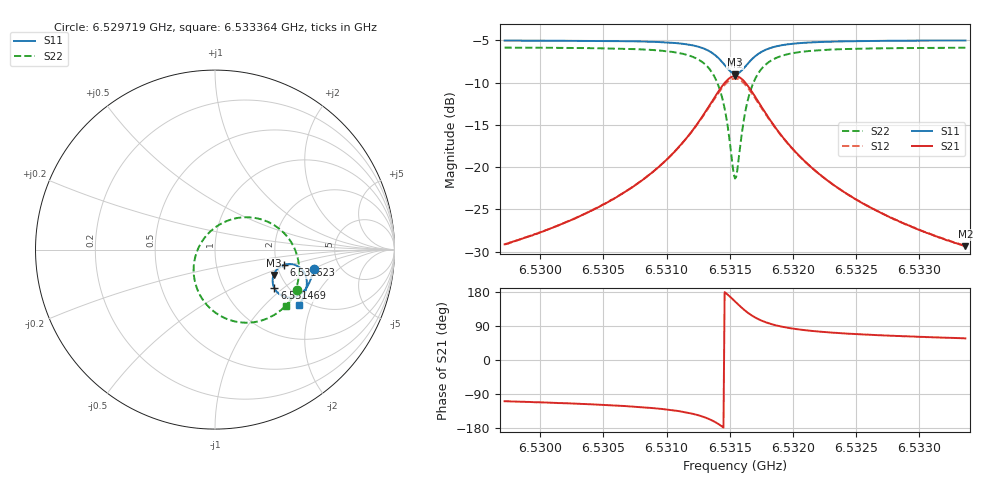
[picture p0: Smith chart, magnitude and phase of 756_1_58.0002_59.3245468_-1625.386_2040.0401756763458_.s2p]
#  HZ  S  RI  R  50.00
! Rohde & Schwarz Vector Network Analyzer
! Rohde-Schwarz,ZNB20-2Port,1311601062101988,3.16
! Created: UTC 3/21/2024, 1:24:11 AM
! freq[Hz]  re:S11  im:S11  re:S21  im:S21  re:S12  im:S12  re:S22  im:S22
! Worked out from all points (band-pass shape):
!   401 points, 6.529719 GHz to 6.533364 GHz, reference 50 ohm
!   highest |S21| = -9.22 dB at 6.531541 GHz (marker M1); lowest = -29.3 dB at 6.533364 GHz (marker M2)
!   |S21| within 3 dB of the highest: 6.53136 GHz to 6.531724 GHz (364.6 kHz wide, 0.00558 % of centre)
!   lowest |S11| = -9.0 dB at 6.531541 GHz (marker M3), VSWR 2.11, Z = 92.2 - j29.9 ohm
!   |S11| at or under -10 dB: nowhere
!   |S22| runs from -21.3 to -5.9 dB; largest |S21 - S12| = 0.015
!   S11 on the Smith chart (normalised r, x): 6.529719 GHz: 3.20, -1.00; 6.531469 GHz: 1.71, -0.87; 6.531623 GHz: 2.19, -0.44; 6.533364 GHz: 1.81, -1.64
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6.5297185e9  0.5496 -0.1076  -0.0113 -0.0331  -0.012 -0.0329  0.4558 -0.2271
6.5303292e9  0.5355 -0.1593  -0.0227 -0.0468  -0.0239 -0.0462  0.4183 -0.285
6.5306665e9  0.522 -0.1918  -0.0371 -0.0606  -0.0387 -0.0597  0.3807 -0.3259
6.5309399e9  0.5021 -0.223  -0.0626 -0.0788  -0.065 -0.0769  0.3235 -0.368
6.5311495e9  0.4712 -0.2511  -0.1084 -0.0977  -0.1115 -0.0938  0.2316 -0.4019
6.5313136e9  0.4175 -0.2673  -0.192 -0.0989  -0.1937 -0.0902  0.0806 -0.3918
6.5314047e9  0.3666 -0.2536  -0.2701 -0.0586  -0.2669 -0.0469  -0.0456 -0.3077
6.5314412e9  0.3446 -0.2353  -0.3019 -0.0209  -0.2954 -0.00906  -0.0912 -0.2383
6.5314685e9  0.331 -0.215  -0.3202 0.0178  -0.3108 0.0286  -0.1135 -0.1702
6.5315232e9  0.3219 -0.1607  -0.324 0.1152  -0.3103 0.1204  -0.1003 -0.0101
6.5315414e9  0.3266 -0.1417  -0.3124 0.1483  -0.2985 0.1509  -0.075 0.0415
6.5315597e9  0.3353 -0.1239  -0.2943 0.1786  -0.281 0.1787  -0.0401 0.0872
6.5316235e9  0.385 -0.0848  -0.2021 0.2429  -0.1937 0.2383  0.1223 0.1758
6.5316599e9  0.4157 -0.08  -0.1483 0.25  -0.1429 0.2451  0.2129 0.1779
6.5316964e9  0.4417 -0.0841  -0.1034 0.2431  -0.0998 0.2388  0.2866 0.1582
6.5317511e9  0.4703 -0.0985  -0.0548 0.2207  -0.053 0.2177  0.365 0.1102
6.5318058e9  0.4883 -0.1156  -0.0245 0.1952  -0.023 0.1933  0.4125 0.0591
6.5319334e9  0.5071 -0.1516  0.00875 0.1457  0.0101 0.1451  0.4589 -0.0388
6.5321521e9  0.5114 -0.1947  0.0228 0.0962  0.024 0.0958  0.4678 -0.1396
6.5324255e9  0.5049 -0.2304  0.0242 0.0654  0.025 0.0649  0.4545 -0.208
6.5327628e9  0.4927 -0.2632  0.0221 0.0458  0.0229 0.0454  0.4336 -0.259
6.5333643e9  0.4681 -0.3098  0.0186 0.0286  0.019 0.0283  0.3981 -0.3162
